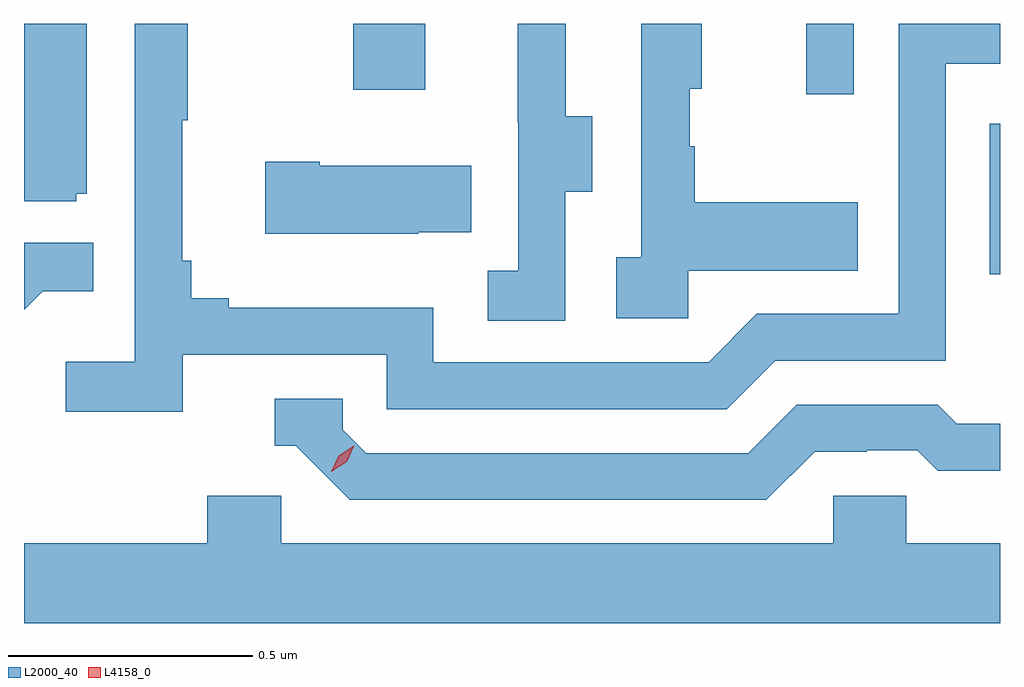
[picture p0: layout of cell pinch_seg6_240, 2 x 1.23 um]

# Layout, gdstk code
import gdstk
lib = gdstk.Library(unit=1e-6, precision=1e-09)
def R(c, l, rs):  # rectangles x0, y0, x1, y1
    for r in rs: c.add(gdstk.rectangle(r[:2], r[2:], *l))
def P(c, l, *ps):  # polygons
    for p in ps: c.add(gdstk.Polygon(p, *l))
L2000_40 = (2000, 40)
L4158_0 = (4158, 0)

pinch_seg6_240 = lib.new_cell('pinch_seg6_240')
R(pinch_seg6_240, L2000_40, [(1119.732,928.071,1119.753,928.38), (1119.356,928.44,1119.453,928.585), (1118.428,928.449,1118.575,928.585)])
P(pinch_seg6_240, L2000_40, [(1118.078,927.906),(1118.496,927.906),(1118.496,927.795),(1119.193,927.795),(1119.292,927.894),(1119.642,927.894),(1119.642,928.503),(1119.753,928.503),(1119.753,928.585),(1119.546,928.585),(1119.546,927.99),(1119.255,927.99),(1119.156,927.891),(1118.592,927.891),(1118.592,928.003),(1118.173,928.003),(1118.173,928.022),(1118.096,928.022),(1118.096,928.099),(1118.077,928.099),(1118.077,928.387),(1118.089,928.387),(1118.089,928.585),(1117.98,928.585),(1117.98,927.892),(1117.839,927.892),(1117.839,927.79),(1118.078,927.79)],
  [(1119.114,928.079),(1119.461,928.079),(1119.461,928.219),(1119.127,928.219),(1119.127,928.334),(1119.117,928.334),(1119.117,928.452),(1119.142,928.452),(1119.142,928.585),(1119.018,928.585),(1119.018,928.106),(1118.967,928.106),(1118.967,927.981),(1119.114,927.981)],
  [(1118.862,928.24),(1118.917,928.24),(1118.917,928.395),(1118.863,928.395),(1118.863,928.585),(1118.765,928.585),(1118.765,928.383),(1118.766,928.383),(1118.766,928.079),(1118.703,928.079),(1118.703,927.976),(1118.862,927.976)],
  [(1117.86,928.236),(1117.882,928.236),(1117.882,928.585),(1117.753,928.585),(1117.753,928.221),(1117.86,928.221)],
  [(1118.561,928.157),(1118.669,928.157),(1118.669,928.294),(1118.359,928.294),(1118.359,928.302),(1118.247,928.302),(1118.247,928.154),(1118.561,928.154)],
  [(1117.791,928.037),(1117.895,928.037),(1117.895,928.136),(1117.753,928.136),(1117.753,927.999)],
  [(1119.373,927.708),(1119.48,927.708),(1119.48,927.711),(1119.583,927.711),(1119.625,927.669),(1119.753,927.669),(1119.753,927.765),(1119.664,927.765),(1119.625,927.804),(1119.336,927.804),(1119.237,927.705),(1118.454,927.705),(1118.406,927.753),(1118.406,927.816),(1118.267,927.816),(1118.267,927.72),(1118.31,927.72),(1118.421,927.609),(1119.274,927.609)],
  [(1119.753,927.52),(1119.561,927.52),(1119.561,927.618),(1119.411,927.618),(1119.411,927.52),(1118.28,927.52),(1118.28,927.618),(1118.129,927.618),(1118.129,927.52),(1117.753,927.52),(1117.753,927.356),(1119.753,927.356)])
P(pinch_seg6_240, L4158_0, [(1118.383,927.667),(1118.383,927.667),(1118.398,927.7),(1118.429,927.72),(1118.429,927.72),(1118.429,927.719),(1118.414,927.687),(1118.383,927.667)])

lib.write_gds('pinch_seg6_240.gds')
